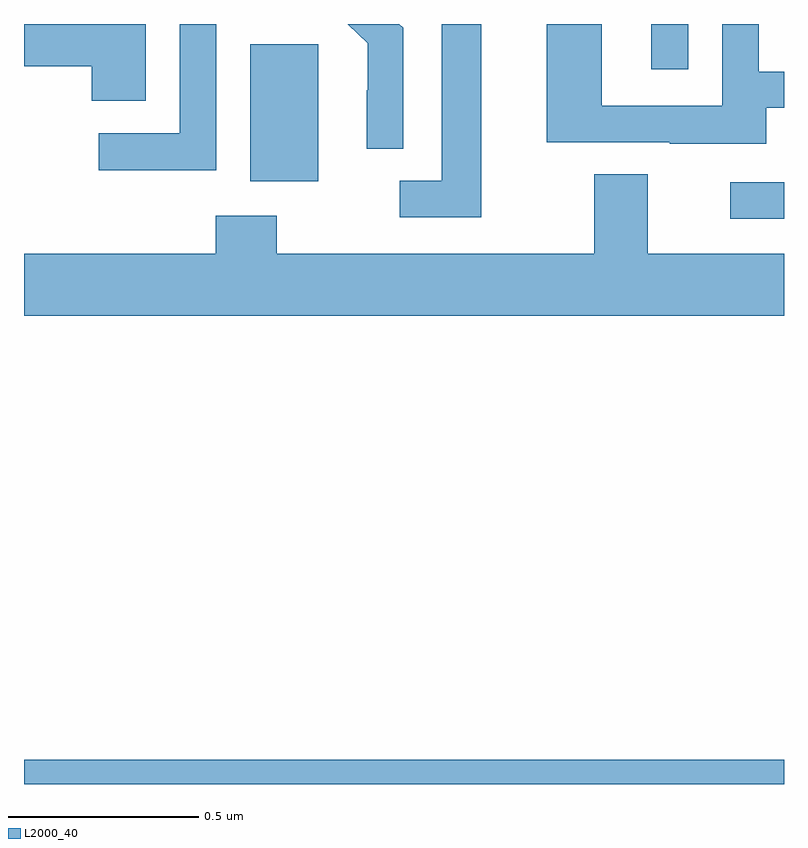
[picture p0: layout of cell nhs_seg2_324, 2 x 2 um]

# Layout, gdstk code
import gdstk
lib = gdstk.Library(unit=1e-6, precision=1e-09)
def R(c, l, rs):  # rectangles x0, y0, x1, y1
    for r in rs: c.add(gdstk.rectangle(r[:2], r[2:], *l))
def P(c, l, *ps):  # polygons
    for p in ps: c.add(gdstk.Polygon(p, *l))
L2000_40 = (2000, 40)

nhs_seg2_324 = lib.new_cell('nhs_seg2_324')
R(nhs_seg2_324, L2000_40, [(115,583.8,117,583.864), (116.859,585.288,117,585.384), (115.595,585.386,115.774,585.747), (116.651,585.681,116.748,585.8)])
P(nhs_seg2_324, L2000_40, [(116.203,585.8),(116.099,585.8),(116.099,585.387),(115.989,585.387),(115.989,585.291),(116.203,585.291)],
  [(115.321,585.8),(115,585.8),(115,585.689),(115.178,585.689),(115.178,585.598),(115.321,585.598)],
  [(115.506,585.8),(115.41,585.8),(115.41,585.513),(115.197,585.513),(115.197,585.415),(115.506,585.415)],
  [(115.998,585.79),(115.988,585.8),(115.852,585.8),(115.904,585.749),(115.904,585.626),(115.902,585.626),(115.902,585.472),(115.998,585.472)],
  [(116.953,585.579),(117,585.579),(117,585.675),(116.934,585.675),(116.934,585.8),(116.838,585.8),(116.838,585.585),(116.52,585.585),(116.52,585.8),(116.375,585.8),(116.375,585.489),(116.699,585.489),(116.699,585.485),(116.953,585.485)],
  [(117,585.196),(116.641,585.196),(116.641,585.404),(116.501,585.404),(116.501,585.196),(115.665,585.196),(115.665,585.295),(115.505,585.295),(115.505,585.196),(115,585.196),(115,585.032),(117,585.032)])

lib.write_gds('nhs_seg2_324.gds')
